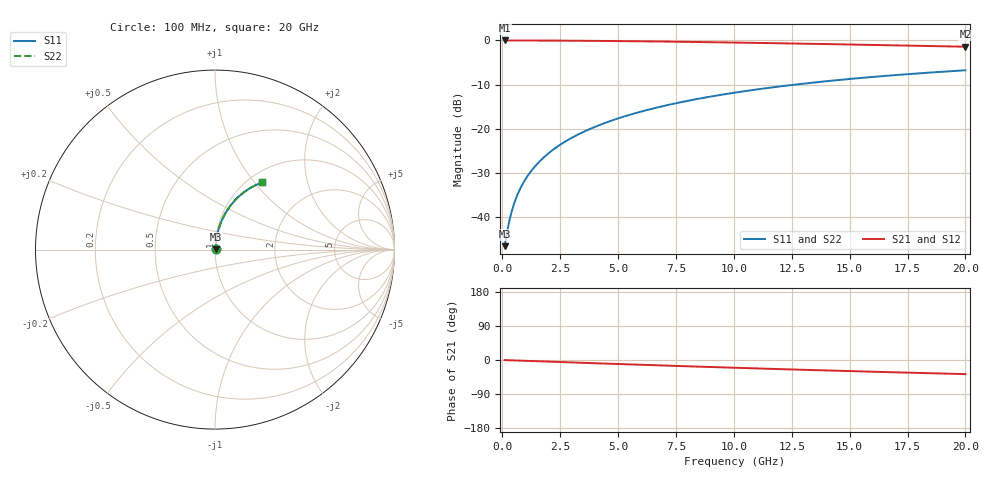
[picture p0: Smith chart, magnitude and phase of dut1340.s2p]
! Touchstone file exported from HFSS 2024.1.0
!  File:  C:/UserFiles/LocalFiles/RDL_TSV_Batchsim/temp_RDL_bottom_1340_1780369776.aedt
!  Generated:  11:12:46 AM Jun  2, 2026
!  Design:  RDL_bottom
!  Project:  temp_RDL_bottom_1340_1780369776
!  Setup:  Setup1
!  Solution:  Sweep
! Variables:
!  dtsv = 10.80580581um
!  hbump = 3um
!  htsv = 87.49um
!  ldown = 420.58um
!  lrdl = 100um
!  p = 40
!  p1 = 58.45um
!  rhole = 1um
!  t = 450um
!  tdown = 3.42um
!  trdl = 3.915915916um
!  wdown = 11.49um
!  wrdl = 20um
# GHz S MA R 50.000000
! Terminal data exported
! Port[1] = RDL1_T1
! Port[2] = RDL1_T2
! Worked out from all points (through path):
!   200 points, 100 MHz to 20 GHz, reference 50 ohm
!   highest |S21| = -0.03 dB at 100 MHz (marker M1); lowest = -1.5 dB at 20 GHz (marker M2)
!   group delay of S21, straight-line fit = 5.18 ps
!   lowest |S11| = -46.5 dB at 100 MHz (marker M3), VSWR 1.01, Z = 50.4 + j0.273 ohm
!   |S11| at or under -10 dB: start of sweep to 12.65 GHz
!   |S22| runs from -46.5 to -6.8 dB; largest |S21 - S12| = 2.6e-15
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0.1  0.004735 34.9  0.9961 -0.2  0.9961 -0.2  0.004735 34.9
! Gamma 0 0 0 0
! Port Impedance 50 0 50 0
0.2  0.006695 53.9  0.9961 -0.4  0.9961 -0.4  0.006695 53.9
0.3  0.009043 63.5  0.996 -0.7  0.996 -0.7  0.009043 63.5
0.4  0.01153 68.9  0.9959 -0.9  0.9959 -0.9  0.01153 68.9
0.5  0.01407 72.3  0.9958 -1.1  0.9958 -1.1  0.01407 72.3
0.6  0.01664 74.6  0.9956 -1.3  0.9956 -1.3  0.01664 74.6
0.8  0.0218 77.5  0.9954 -1.7  0.9954 -1.7  0.0218 77.5
1.1  0.02959 79.7  0.9949 -2.4  0.9949 -2.4  0.02959 79.7
1.5  0.04002 81.1  0.9942 -3.2  0.9942 -3.2  0.04002 81.1
1.8  0.04786 81.5  0.9936 -3.9  0.9936 -3.9  0.04786 81.5
2.1  0.0557 81.7  0.9928 -4.5  0.9928 -4.5  0.0557 81.7
2.7  0.0714 81.6  0.991 -5.8  0.991 -5.8  0.0714 81.6
3.5  0.09229 81.0  0.988 -7.5  0.988 -7.5  0.09229 81.0
4.2  0.1105 80.1  0.9848 -9.0  0.9848 -9.0  0.1105 80.1
5  0.1312 79.0  0.9806 -10.6  0.9806 -10.6  0.1312 79.0
5.9  0.1543 77.7  0.9752 -12.5  0.9752 -12.5  0.1543 77.7
6.8  0.1772 76.3  0.9692 -14.3  0.9692 -14.3  0.1772 76.3
8.3  0.2145 73.8  0.9581 -17.2  0.9581 -17.2  0.2145 73.8
10.1  0.2579 70.7  0.9431 -20.6  0.9431 -20.6  0.2579 70.7
13.4  0.3325 65.2  0.9127 -26.6  0.9127 -26.6  0.3325 65.2
16.7  0.3995 59.9  0.8799 -32.1  0.8799 -32.1  0.3996 59.9
20  0.4587 54.8  0.8462 -37.2  0.8462 -37.2  0.4588 54.8
